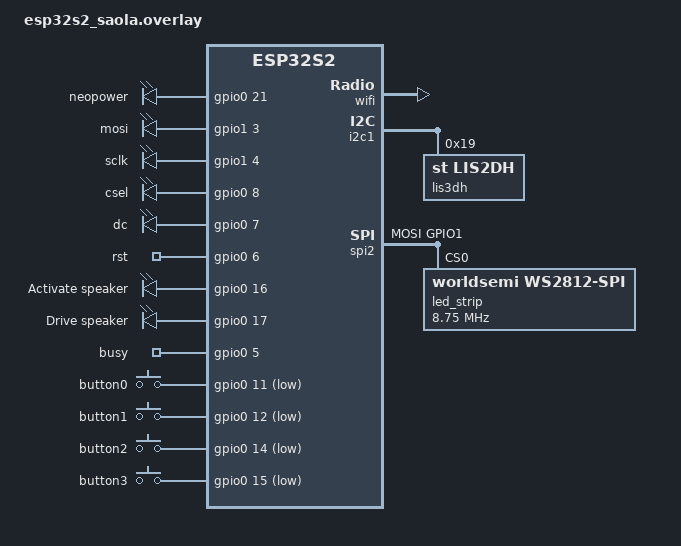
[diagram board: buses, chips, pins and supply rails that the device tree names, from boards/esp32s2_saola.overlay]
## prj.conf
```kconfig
CONFIG_GOLIOTH_SAMPLES_COMMON=y

# Generic networking options
CONFIG_NETWORKING=y
CONFIG_NET_IPV4=y
CONFIG_NET_IPV6=n

# Logging
CONFIG_NET_LOG=y

# Network Shell
CONFIG_NET_SHELL=y

# TLS configuration
CONFIG_MBEDTLS_ENABLE_HEAP=y
CONFIG_MBEDTLS_HEAP_SIZE=10240
CONFIG_MBEDTLS_SSL_MAX_CONTENT_LEN=2048

# Application
CONFIG_MAIN_STACK_SIZE=4096
CONFIG_SYSTEM_WORKQUEUE_STACK_SIZE=2048

CONFIG_GOLIOTH=y
CONFIG_GOLIOTH_SYSTEM_CLIENT=y

CONFIG_MINIMAL_LIBC_MALLOC_ARENA_SIZE=2048

# JSON library
CONFIG_JSON_LIBRARY=y

# WS2812 Driver
CONFIG_LED_STRIP=y
CONFIG_LED_STRIP_LOG_LEVEL_DBG=y
CONFIG_WS2812_STRIP=y

# Accelerometer
CONFIG_GPIO=y
CONFIG_I2C=y
CONFIG_SENSOR=y
CONFIG_LIS2DH=y
CONFIG_CBPRINTF_FP_SUPPORT=y

CONFIG_LOG_BACKEND_GOLIOTH=y
CONFIG_LOG_PROCESS_THREAD_STACK_SIZE=2048

# Enable device settings service
CONFIG_GOLIOTH_SETTINGS=y

# MagTag Common Files
CONFIG_MAGTAG_COMMON=y
CONFIG_MAGTAG_EPAPER=y
CONFIG_MAGTAG_WS2812=y
CONFIG_MAGTAG_ACCELEROMETER=y

CONFIG_ESP_SPIRAM=y
CONFIG_ESP32_WIFI_NET_ALLOC_SPIRAM=y
```

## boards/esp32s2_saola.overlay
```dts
&wifi {
	status = "okay";
};

&i2c1 {
	pinctrl-0 = <&i2c1_default>;
	status = "okay";

	lis3dh@19 {
			compatible = "st,lis2dh";
			reg = <0x19>;
	};
};

&spi2 {
	pinctrl-0 = <&spim2_default>;
	led_strip: ws2812@0 {
		compatible = "worldsemi,ws2812-spi";

		/* SPI */
		reg = <0>; /* ignored, but necessary for SPI bindings */
		spi-max-frequency = <8750000>;

		/* WS2812 */
		chain-length = <4>; /* arbitrary; change at will */
		spi-one-frame = <0xF8>;
		spi-zero-frame = <0xE0>;
		color-mapping = <2 1 3>;
	};
};

&pinctrl {
	i2c1_default: i2c1_default {
		group1 {
			pinmux = <I2C1_SDA_GPIO33>,
					 <I2C1_SCL_GPIO34>;
		};
	};
	spim2_default: spim2_default {
		group1 {
			pinmux = <SPIM2_MOSI_GPIO1>;
		};
	};
};

/ {
	aliases {
		led-strip = &led_strip;
		neopower = &neopower;
		mosi = &mosi;
		sclk = &sclk;
		csel = &csel;
		busy = &busy;
		dc = &dc;
		rst = &rst;
		sw0 = &button0;
        sw1 = &button1;
		sw2 = &button2;
        sw3 = &button3;
        activate = &active;
		sound = &sound;
	};

	leds {
        compatible = "gpio-leds";
        neopower: neo_power {
            gpios = <&gpio0 21 GPIO_ACTIVE_HIGH>;
		};
        mosi: mosi_p {
            gpios = <&gpio1 3 GPIO_ACTIVE_HIGH>;
        };
		sclk: sclk_p {
            gpios = <&gpio1 4 GPIO_ACTIVE_HIGH>;
        };
		csel: csel_p {
            gpios = <&gpio0 8 GPIO_ACTIVE_HIGH>;
        };
		dc: dc_pin {
            gpios = <&gpio0 7 GPIO_ACTIVE_HIGH>;
        };
		rst: reset {
            gpios = <&gpio0 6 GPIO_ACTIVE_HIGH>;
        };
        active: active_pin {
            gpios = <&gpio0 16 GPIO_ACTIVE_HIGH>;
            label = "Activate speaker";
        };
		sound: sound_pin {
            gpios = <&gpio0 17 GPIO_ACTIVE_HIGH>;
            label = "Drive speaker";
        };
    };

	gpio_keys {
        compatible = "gpio-keys";
		busy: busy_pin {
            gpios = <&gpio0 5 GPIO_ACTIVE_HIGH>;
        };
        button0: button_0 {
            gpios = <&gpio0 11 (GPIO_ACTIVE_LOW | GPIO_PULL_UP)>;
        };
        button1: button_1 {
            gpios = <&gpio0 12 (GPIO_ACTIVE_LOW | GPIO_PULL_UP)>;
        };
		button2: button_2 {
            gpios = <&gpio0 14 (GPIO_ACTIVE_LOW | GPIO_PULL_UP)>;
        };
        button3: button_3 {
            gpios = <&gpio0 15 (GPIO_ACTIVE_LOW | GPIO_PULL_UP)>;
        };
    };

};
```

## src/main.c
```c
/*
 * Copyright (c) 2022 Golioth, Inc.
 *
 * SPDX-License-Identifier: Apache-2.0
 */

/* Logging */
#include <stdlib.h>
#include <zephyr/logging/log.h>
LOG_MODULE_REGISTER(golioth_magtag, LOG_LEVEL_DBG);

/* MagTag specific hardware includes */
#include "magtag-common/magtag_epaper.h"
#include "magtag-common/ws2812_control.h"
#include "magtag-common/accel.h"

/* Golioth platform includes */
#include <net/golioth/system_client.h>
#include <net/golioth/settings.h>
#include <samples/common/net_connect.h>
#include <zephyr/net/coap.h>

static struct golioth_client *client = GOLIOTH_SYSTEM_CLIENT_GET();
static K_SEM_DEFINE(connected, 0, 1);

static int32_t _loop_delay_s = 5;
static k_tid_t _system_thread = 0;

static struct sensor_value accel[3];

struct k_mutex epaper_mutex;

enum golioth_settings_status on_setting(
		const char *key,
		const struct golioth_settings_value *value)
{
	LOG_DBG("Received setting: key = %s, type = %d", key, value->type);
	if (strcmp(key, "LOOP_DELAY_S") == 0) {
		/* This setting is expected to be numeric, return an error if it's not */
		if (value->type != GOLIOTH_SETTINGS_VALUE_TYPE_INT64) {
			return GOLIOTH_SETTINGS_VALUE_FORMAT_NOT_VALID;
		}

		/* This setting must be in range [1, 100], return an error if it's not */
		if (value->i64 < 1 || value->i64 > 100) {
			return GOLIOTH_SETTINGS_VALUE_OUTSIDE_RANGE;
		}

		/* Setting has passed all checks, so apply it to the loop delay */
		_loop_delay_s = (int32_t)value->i64;
		char sbuf[32];
		snprintk(sbuf, 32, "New loop delay: %d ", _loop_delay_s);
		LOG_INF("%s", sbuf);

		if (k_mutex_lock(&epaper_mutex, K_SECONDS(1))==0) {
			epaper_autowrite(sbuf, strlen(sbuf));
			k_mutex_unlock(&epaper_mutex);
		}

		k_wakeup(_system_thread);
		return GOLIOTH_SETTINGS_SUCCESS;
	}

	/* If the setting is not recognized, we should return an error */
	return GOLIOTH_SETTINGS_KEY_NOT_RECOGNIZED;
}

static void golioth_on_connect(struct golioth_client *client)
{
	k_sem_give(&connected);
	
	int err = golioth_settings_register_callback(client, on_setting);

	if (err) {
		LOG_ERR("Failed to register settings callback: %d", err);
	}
}

static int lightdb_stream_handler(struct golioth_req_rsp *rsp)
{
	if (rsp->err) {
		LOG_WRN("Failed to stream sensor data: %d", rsp->err);
		return rsp->err;
	}
	return 0;
}

static int record_accelerometer(const struct device *sensor)
{
	/* Call sensor library to take sensor reading */
	fetch_and_display(sensor, accel);

	/* Turn sensor data into a string */
	char str[160];
	snprintk(str, sizeof(str) - 1,
			"{\"x\":%f,\"y\":%f,\"z\":%f}",
			sensor_value_to_double(&accel[0]),
			sensor_value_to_double(&accel[1]),
			sensor_value_to_double(&accel[2])
			);

	int err = golioth_stream_push_cb(client, "accel",
				GOLIOTH_CONTENT_FORMAT_APP_JSON,
				str, strlen(str),
				lightdb_stream_handler, NULL);
	if (err) {
		return err;
	}
	return 0;
}

void main(void)
{
	LOG_DBG("Start MagTag LightDB Stream demo");

	/* Get system thread id so loop delay change event can wake main */
	_system_thread = k_current_get();

	/* Initialize MagTag hardware */
	ws2812_init();
	/* show two blue pixels to show until we connect to Golioth */
	leds_immediate(BLACK, BLUE, BLUE, BLACK);

	k_mutex_init(&epaper_mutex);
	k_mutex_lock(&epaper_mutex, K_FOREVER);
	epaper_init();
	if (IS_ENABLED(CONFIG_GOLIOTH_SAMPLES_COMMON)) {
		net_connect();
	}

	client->on_connect = golioth_on_connect;
	golioth_system_client_start();

	/* wait until we've connected to golioth */
	k_sem_take(&connected, K_FOREVER);

	/* turn LEDs green to indicate connection */
	leds_immediate(GREEN, GREEN, GREEN, GREEN);
	epaper_autowrite("Connected to Golioth!", 21);
	k_mutex_unlock(&epaper_mutex);

	/* Accelerometer */
	accelerometer_init();

	int err;
	while (true) {
		/* Send accelerometer data to the Golioth Cloud */
		LOG_INF("Sending accel data");

		err = record_accelerometer(sensor);
		if (err) {
			LOG_WRN("Failed to accel data to LightDB stream: %d", err);
		}
		else
		{
			char str[160];
			snprintk(str, sizeof(str) -1,
						"%.4f %.4f %.4f",
						sensor_value_to_double(&accel[0]),
						sensor_value_to_double(&accel[1]),
						sensor_value_to_double(&accel[2])
						);
			if (k_mutex_lock(&epaper_mutex, K_MSEC(100))==0) {
				epaper_autowrite(str, strlen(str));
				k_mutex_unlock(&epaper_mutex);
			}
		}

		k_sleep(K_SECONDS(_loop_delay_s));
	}
}
```
